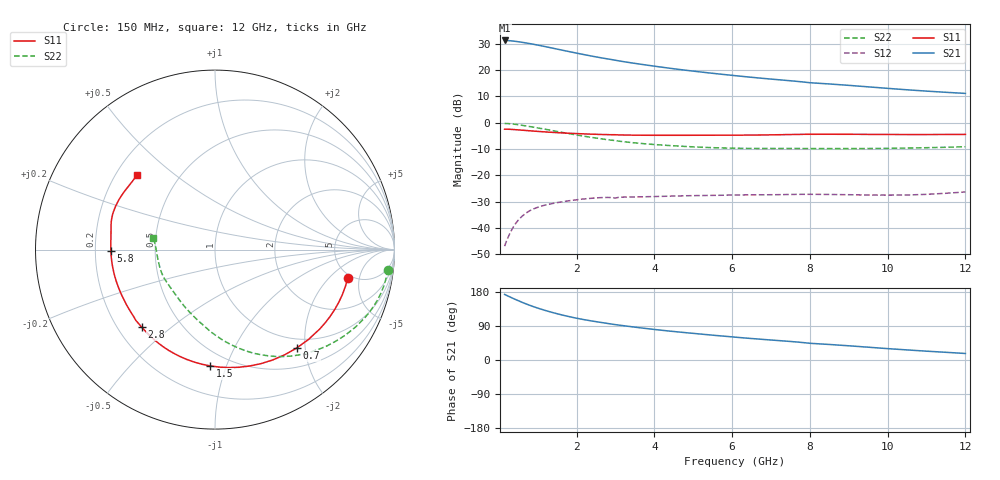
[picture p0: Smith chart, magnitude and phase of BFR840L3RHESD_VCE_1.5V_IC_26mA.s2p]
! Infineon Technologies  Discrete & RF Semiconductors
! BFR840L3RHESD
! VCE =  1.5 V,  IC =  26 mA
! Common Emitter S-Parameters:  Jun 2012
# GHz  S  MA  R  50
!  f  S11  S21  S12  S22
! GHz  MAG  ANG  MAG  ANG  MAG  ANG  MAG  ANG
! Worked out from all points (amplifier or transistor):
!   91 points, 150 MHz to 12 GHz, reference 50 ohm
!   highest |S21| = 31.3 dB at 150 MHz (marker M1)
!   |S21| within 3 dB of that: start of sweep to 1.409 GHz
!   unconditionally stable (mu >= 1): 6.643 GHz to end of sweep
!   at 1.3 GHz: K = 0.21, MSG = 29.8 dB, |S12| = -31.0 dB
!   at 4.3 GHz: K = 0.66, MSG = 24.4 dB, |S12| = -28.0 dB
!   at 12 GHz: K = 1.77, MAG = 13.7 dB, |S12| = -26.3 dB
!   S11 on the Smith chart (normalised r, x): 150 MHz: 4.66, -3.39; 700 MHz: 0.82, -1.84; 1.5 GHz: 0.39, -0.88; 2.8 GHz: 0.30, -0.40; 5.8 GHz: 0.27, -0.01; 12 GHz: 0.29, +0.37
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0.15  0.7563 -11.9  36.72 173.1  0.0045 82.9  0.9689 -6.6
0.3  0.7495 -23.1  36.17 165.8  0.0083 77.3  0.9557 -14.8
0.45  0.7369 -33.8  35.13 158.8  0.0126 70.8  0.9283 -22.1
0.6  0.7224 -43.9  33.86 152.2  0.0167 65.8  0.8943 -28.8
0.7  0.7126 -50.3  32.93 148.1  0.0192 63.1  0.8702 -33.0
0.8  0.703 -56.5  31.97 144.2  0.0213 60.6  0.8458 -37.0
1  0.6851 -68.0  29.99 137.0  0.0247 56.0  0.7976 -44.5
1.2  0.6692 -78.4  28 130.6  0.0273 51.8  0.7507 -51.4
1.5  0.6488 -92.3  25.16 122.1  0.0303 46.0  0.6832 -60.6
1.9  0.627 -107.9  21.84 112.4  0.0336 40.1  0.6029 -71.3
2.2  0.6137 -117.8  19.71 106.4  0.0356 37.1  0.5533 -78.1
2.4  0.606 -123.6  18.46 102.8  0.0367 35.3  0.5249 -82.2
2.8  0.5944 -133.5  16.37 96.4  0.038 32.0  0.4763 -89.8
3.4  0.582 -146.4  13.81 88.0  0.0388 29.3  0.4213 -99.9
4.2  0.5777 -159.3  11.38 78.4  0.0399 27.6  0.3766 -111.9
4.9  0.5782 -168.9  9.784 71.2  0.041 26.5  0.351 -121.7
5.8  0.5801 -179.2  8.256 62.8  0.0419 25.4  0.331 -133.3
6.1  0.5809 177.8  7.832 60.1  0.0423 25.2  0.3276 -137.0
8  0.6038 160.0  5.769 44.1  0.0436 24.9  0.3232 -161.1
8.5  0.6044 156.4  5.465 41.0  0.0433 25.0  0.3224 -165.4
10.5  0.5971 143.0  4.234 26.6  0.0423 31.9  0.3302 177.9
12  0.6011 136.2  3.612 17.2  0.0483 38.7  0.3503 169.2
